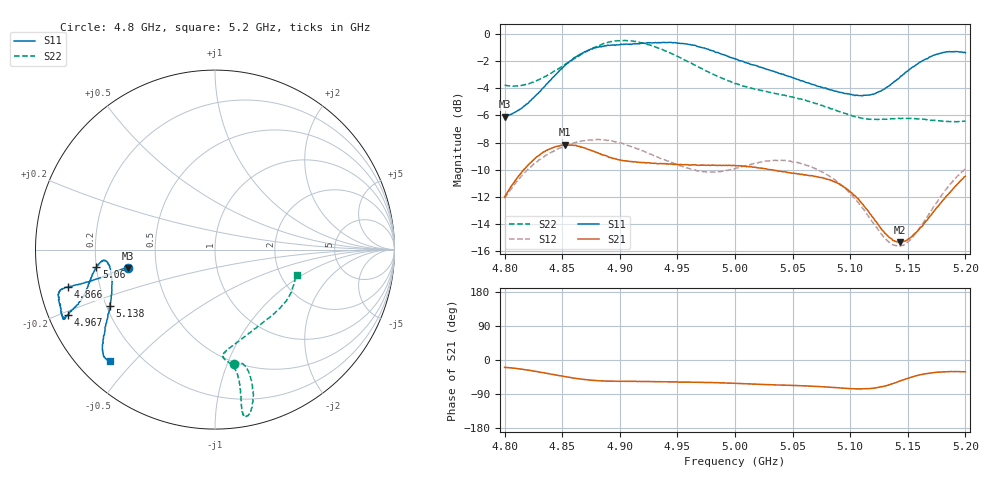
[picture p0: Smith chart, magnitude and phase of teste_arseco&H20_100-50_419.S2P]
! Network Analyzer HP8722D
! Hewlett-Packard
! Data name: Linha & Wilkinson
! Saver's name: Rodrigo Anjos
! Comments: Teste da utilização de aquisição
! continua pelo VNA HP8722D
! Time and date: 6/5/2025 16:03
!  Frequency  S11  S21  S12  S22
# HZ  S  MA R 50
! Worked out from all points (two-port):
!   401 points, 4.8 GHz to 5.2 GHz, reference 50 ohm
!   highest |S21| = -8.16 dB at 4.852 GHz (marker M1); lowest = -15.3 dB at 5.143 GHz (marker M2)
!   |S21| within 3 dB of the highest: 4.806 GHz to 5.093 GHz (286.5 MHz wide, 5.79 % of centre); 5.19196 GHz to end of sweep
!   lowest |S11| = -6.1 dB at 4.8 GHz (marker M3), VSWR 2.97, Z = 17 - j4.63 ohm
!   |S11| at or under -10 dB: nowhere
!   |S22| runs from -6.5 to -0.5 dB; largest |S21 - S12| = 0.62
!   S11 on the Smith chart (normalised r, x): 4.8 GHz: 0.34, -0.09; 4.866 GHz: 0.09, -0.12; 4.967 GHz: 0.06, -0.21; 5.06 GHz: 0.20, -0.07; 5.138 GHz: 0.21, -0.24; 5.2 GHz: 0.09, -0.43
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4.8e9  0.4963 -168.1  0.2515 -19.5  0.2482 -140.7  0.6473 -80.4
4.823e9  0.57 -167.4  0.3375 -27.8  0.3245 -143.5  0.66 -76.1
4.852e9  0.7629 -165.7  0.3909 -43.7  0.3864 -149.2  0.7691 -74.5
4.866e9  0.8431 -165.7  0.3832 -50.2  0.4026 -151.6  0.8375 -75.2
4.867e9  0.8465 -165.7  0.3832 -50.5  0.4033 -151.8  0.8431 -75.3
4.88e9  0.8916 -165.4  0.3666 -54.4  0.409 -154.0  0.8997 -76.6
4.899e9  0.9112 -162.7  0.3446 -56.3  0.3983 -156.6  0.9431 -78.9
4.934e9  0.9296 -156.2  0.333 -57.4  0.3509 -155.5  0.8844 -80.4
4.967e9  0.8993 -156.0  0.3286 -58.7  0.3135 -147.8  0.7587 -79.6
5e9  0.8096 -158.8  0.3276 -61.7  0.3197 -137.1  0.6558 -81.3
5.036e9  0.722 -165.5  0.3142 -65.9  0.3421 -134.3  0.6024 -85.6
5.06e9  0.668 -171.5  0.3023 -68.1  0.3309 -135.9  0.5724 -84.3
5.067e9  0.6514 -172.9  0.3009 -69.1  0.3233 -136.7  0.56 -82.6
5.084e9  0.622 -174.5  0.2892 -72.2  0.2958 -138.2  0.5297 -76.3
5.101e9  0.5992 -172.0  0.2609 -75.6  0.2559 -138.7  0.5017 -66.6
5.116e9  0.5951 -165.4  0.2217 -75.9  0.2131 -135.4  0.4853 -55.9
5.134e9  0.6447 -154.1  0.1783 -65.2  0.171 -120.8  0.4863 -43.4
5.138e9  0.666 -151.7  0.1734 -61.3  0.1669 -115.6  0.4873 -40.7
5.143e9  0.6912 -149.1  0.1711 -55.8  0.1657 -108.9  0.4884 -38.0
5.154e9  0.7546 -144.3  0.1806 -44.5  0.1787 -95.1  0.4882 -32.3
5.173e9  0.8365 -138.7  0.2233 -33.2  0.2332 -80.7  0.4811 -24.2
5.2e9  0.8518 -133.5  0.2996 -31.2  0.3189 -76.7  0.4776 -17.5
